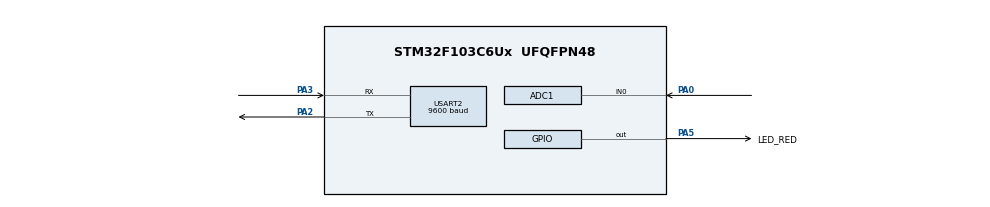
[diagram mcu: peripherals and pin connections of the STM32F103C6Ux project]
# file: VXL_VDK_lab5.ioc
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ADC1.Channel-0\#ChannelRegularConversion=ADC_CHANNEL_0
ADC1.ContinuousConvMode=ENABLE
ADC1.NbrOfConversionFlag=1
ADC1.Rank-0\#ChannelRegularConversion=1
ADC1.SamplingTime-0\#ChannelRegularConversion=ADC_SAMPLETIME_1CYCLE_5
ADC1.master=1
Mcu.Family=STM32F1
Mcu.Name=STM32F103C6Ux
Mcu.Package=UFQFPN48
NVIC.PriorityGroup=NVIC_PRIORITYGROUP_4
NVIC.TIM2_IRQn=true\:0\:0\:false\:false\:true\:true\:true\:true
NVIC.USART2_IRQn=true\:0\:0\:false\:false\:true\:true\:true\:true
PA0-WKUP.Signal=ADCx_IN0
PA13.Mode=Serial_Wire
PA13.Signal=SYS_JTMS-SWDIO
PA14.Mode=Serial_Wire
PA14.Signal=SYS_JTCK-SWCLK
PA2.Mode=Asynchronous
PA2.Signal=USART2_TX
PA3.Mode=Asynchronous
PA3.Signal=USART2_RX
PA5.GPIO_Label=LED_RED
PA5.Signal=GPIO_Output
ProjectManager.HeapSize=0x200
ProjectManager.StackSize=0x400
ProjectManager.TargetToolchain=STM32CubeIDE
RCC.APB1Freq_Value=8000000
RCC.APB2Freq_Value=8000000
SH.ADCx_IN0.0=ADC1_IN0,IN0
TIM2.Period=9
TIM2.Prescaler=7999
USART2.BaudRate=9600
USART2.VirtualMode=VM_ASYNC
VP_TIM2_VS_ClockSourceINT.Mode=Internal
board=custom

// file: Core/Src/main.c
/* USER CODE BEGIN Header */
/**
  ******************************************************************************
  * @file           : main.c
  * @brief          : Main program body
  ******************************************************************************
  * @attention
  *
  * Copyright (c) 2025 STMicroelectronics.
  * All rights reserved.
  *
  * This software is licensed under terms that can be found in the LICENSE file
  * in the root directory of this software component.
  * If no LICENSE file comes with this software, it is provided AS-IS.
  *
  ******************************************************************************
  */
/* USER CODE END Header */
#include "main.h"
#include "adc.h"
#include "tim.h"
#include "usart.h"
#include "gpio.h"

void SystemClock_Config(void);

/* USER CODE BEGIN 0 */
#include "SCH.h"
#include "uart_adc.h"
void Toggle_LED_RED(){
	HAL_GPIO_TogglePin(LED_RED_GPIO_Port, LED_RED_Pin);
}

/* USER CODE END 0 */

int main(void)
{

  /* MCU Configuration--------------------------------------------------------*/

  /* Reset of all peripherals, Initializes the Flash interface and the Systick. */
  HAL_Init();

  /* Configure the system clock */
  SystemClock_Config();

  /* Initialize all configured peripherals */
  MX_GPIO_Init();
  MX_TIM2_Init();
  MX_USART2_UART_Init();
  MX_ADC1_Init();
  /* USER CODE BEGIN 2 */
  HAL_UART_Receive_IT(&huart2, &temp, 1);

  HAL_ADC_Start(&hadc1);
  SCH_Init();
  SCH_Add_Task(Toggle_LED_RED, 1, 50);
  SCH_Add_Task(get_ADC_value, 2, 2);
  SCH_Add_Task(uart_communiation_fsm, 3, 5);

  HAL_TIM_Base_Start_IT(&htim2);
  /* USER CODE END 2 */

  /* Infinite loop */
  /* USER CODE BEGIN WHILE */
  while (1)
  {
	  SCH_Dispatch_Tasks();
	    if(buffer_flag == 1){
	        command_parser_fsm();
	        buffer_flag = 0;
	    }

    /* USER CODE END WHILE */

  }
}

void SystemClock_Config(void)
{
  RCC_OscInitTypeDef RCC_OscInitStruct = {0};
  RCC_ClkInitTypeDef RCC_ClkInitStruct = {0};
  RCC_PeriphCLKInitTypeDef PeriphClkInit = {0};

  /** Initializes the RCC Oscillators according to the specified parameters
  * in the RCC_OscInitTypeDef structure.
  */
  RCC_OscInitStruct.OscillatorType = RCC_OSCILLATORTYPE_HSI;
  RCC_OscInitStruct.HSIState = RCC_HSI_ON;
  RCC_OscInitStruct.HSICalibrationValue = RCC_HSICALIBRATION_DEFAULT;
  RCC_OscInitStruct.PLL.PLLState = RCC_PLL_NONE;
  if (HAL_RCC_OscConfig(&RCC_OscInitStruct) != HAL_OK)
  {
    Error_Handler();
  }

  /** Initializes the CPU, AHB and APB buses clocks
  */
  RCC_ClkInitStruct.ClockType = RCC_CLOCKTYPE_HCLK|RCC_CLOCKTYPE_SYSCLK
                              |RCC_CLOCKTYPE_PCLK1|RCC_CLOCKTYPE_PCLK2;
  RCC_ClkInitStruct.SYSCLKSource = RCC_SYSCLKSOURCE_HSI;
  RCC_ClkInitStruct.AHBCLKDivider = RCC_SYSCLK_DIV1;
  RCC_ClkInitStruct.APB1CLKDivider = RCC_HCLK_DIV1;
  RCC_ClkInitStruct.APB2CLKDivider = RCC_HCLK_DIV1;

  if (HAL_RCC_ClockConfig(&RCC_ClkInitStruct, FLASH_LATENCY_0) != HAL_OK)
  {
    Error_Handler();
  }
  PeriphClkInit.PeriphClockSelection = RCC_PERIPHCLK_ADC;
  PeriphClkInit.AdcClockSelection = RCC_ADCPCLK2_DIV2;
  if (HAL_RCCEx_PeriphCLKConfig(&PeriphClkInit) != HAL_OK)
  {
    Error_Handler();
  }
}

void Error_Handler(void)
{
  __disable_irq();
  while (1)
  {
  }
}
